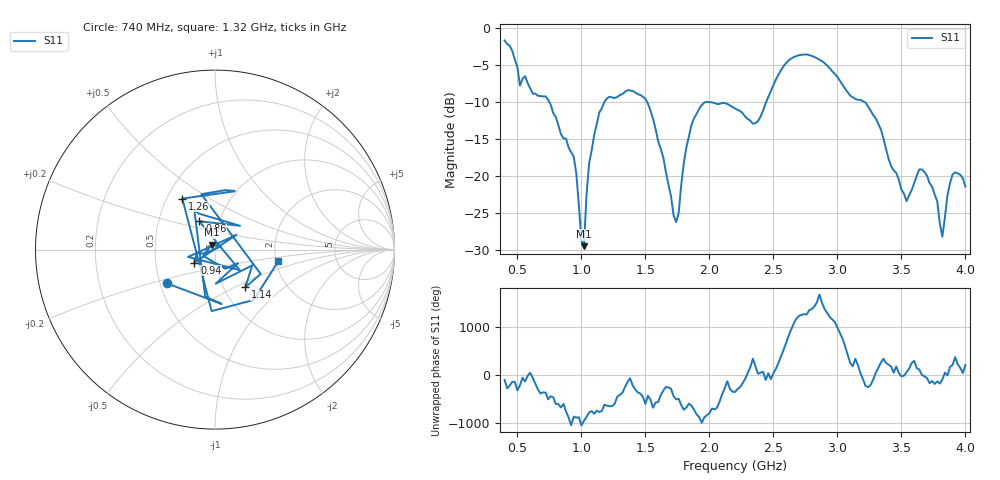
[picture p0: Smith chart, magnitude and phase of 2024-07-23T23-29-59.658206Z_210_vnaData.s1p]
!Created with skrf (http://scikit-rf.org).
# Hz S RI R 50.0
!freq ReS11 ImS11
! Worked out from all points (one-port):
!   181 points, 400 MHz to 4 GHz, reference 50 ohm
!   lowest |S11| = -29.5 dB at 1.02 GHz (marker M1), VSWR 1.07, Z = 48 + j2.62 ohm
!   |S11| at or under -10 dB: 1.514 GHz to 1.969 GHz (455.3 MHz wide, 26.1 % of centre); 2.007 GHz to 2.443 GHz (435.4 MHz wide, 19.6 % of centre); 3.216 GHz to end of sweep (the widest 3 of 4)
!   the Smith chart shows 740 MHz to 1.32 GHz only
!   S11 on the Smith chart (normalised r, x): 740 MHz: 0.54, -0.23; 860 MHz: 0.80, +0.26; 940 MHz: 0.79, -0.12; 1.14 GHz: 1.26, -0.57; 1.26 GHz: 0.60, +0.38; 1.32 GHz: 2.06, -0.31
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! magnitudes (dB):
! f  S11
! 400 MHz  -1.6
! 520 MHz  -7.7
! 740 MHz  -9.7
! 860 MHz  -14.9
! 940 MHz  -17.4
! 1 GHz  -28.8
! 1.02 GHz  -29.5
! 1.06 GHz  -18.3
! 1.14 GHz  -11.4
! 1.26 GHz  -9.4
! 1.3 GHz  -9.0
! 1.32 GHz  -8.9
! 1.52 GHz  -10.2
! 1.72 GHz  -25.3
! 1.76 GHz  -25.0
! 1.82 GHz  -16.1
! 1.92 GHz  -10.9
! 2.2 GHz  -10.8
! 2.38 GHz  -12.5
! 2.66 GHz  -3.9
! 3.1 GHz  -9.1
! 3.3 GHz  -12.2
! 3.56 GHz  -22.6
! 3.68 GHz  -19.5
! 3.78 GHz  -23.4
! 3.82 GHz  -28.2
! 3.9 GHz  -19.8
! 4 GHz  -21.4
